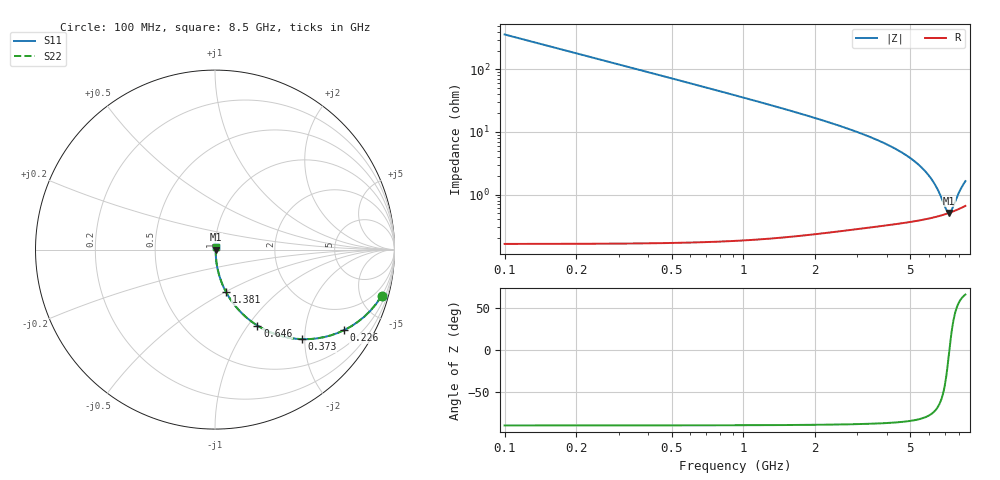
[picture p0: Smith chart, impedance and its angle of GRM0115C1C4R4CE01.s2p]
!Murata Part Number: GRM0115C1C4R4CE01
!These Parameters are Measured in Series Mode Connection
!Data Generated on Mar 30, 2021
!  o--ll--o
!Port1  Port2
!  o------o
!Operation Temp=25[degC], DC Bias Voltage=0[V]
!Freq. Start=100[MHz] Stop=9[GHz] 401[Steps]
# Hz S RI R 50
!Freq.(Hz) S11(Real) S11(Imag) S21(Real) S21(Imag) S12(Real) S12(Imag) S22(Real) S22(Imag)
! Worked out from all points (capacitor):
!   401 points, 100 MHz to 8.5 GHz, reference 50 ohm
!   read as one part in series: C = 4.4 pF near 142 MHz
!   lowest |Z| = 509 mohm at 7.261 GHz (marker M1)
!   series resonance near 7.285 GHz, so ESL is about 110 pH
!   S11 on the Smith chart (normalised r, x): 100 MHz: 1.00, -7.23; 226 MHz: 1.00, -3.20; 373 MHz: 1.00, -1.93; 646 MHz: 1.00, -1.11; 1.381 GHz: 1.00, -0.50; 8.5 GHz: 1.01, +0.03
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1e8  0.9289 -0.2568  0.0711 0.2568  0.0711 0.2568  0.9289 -0.2568
1.42e8  0.8662 -0.3401  0.1338 0.3401  0.1338 0.3401  0.8662 -0.3401
1.84e8  0.794 -0.404  0.206 0.404  0.206 0.404  0.794 -0.404
2.26e8  0.7186 -0.4492  0.2814 0.4492  0.2814 0.4492  0.7186 -0.4492
2.89e8  0.6094 -0.4872  0.3906 0.4872  0.3906 0.4872  0.6094 -0.4872
3.73e8  0.4833 -0.4989  0.5167 0.4989  0.5167 0.4989  0.4833 -0.4989
4.99e8  0.3425 -0.4734  0.6575 0.4734  0.6575 0.4734  0.3425 -0.4734
6.46e8  0.2363 -0.4233  0.7637 0.4233  0.7637 0.4233  0.2363 -0.4233
9.4e8  0.1262 -0.3297  0.8738 0.3297  0.8738 0.3297  0.1262 -0.3297
1.381e9  0.0614 -0.236  0.9386 0.236  0.9386 0.236  0.0614 -0.236
1.507e9  0.0517 -0.2169  0.9483 0.2169  0.9483 0.2169  0.0517 -0.2169
2.116e9  0.0259 -0.1515  0.9741 0.1515  0.9741 0.1515  0.0259 -0.1515
2.914e9  0.0133 -0.1021  0.9867 0.1021  0.9867 0.1021  0.0133 -0.1021
4.3e9  0.00626 -0.054  0.9937 0.054  0.9937 0.054  0.00626 -0.054
5.098e9  0.00495 -0.0357  0.995 0.0357  0.995 0.0357  0.00495 -0.0357
5.707e9  0.00455 -0.0241  0.9954 0.0241  0.9954 0.0241  0.00455 -0.0241
6.4e9  0.00453 -0.0127  0.9955 0.0127  0.9955 0.0127  0.00453 -0.0127
7.114e9  0.00492 -0.00231  0.9951 0.00231  0.9951 0.00231  0.00492 -0.00231
7.261e9  0.00505 -0.000318  0.9949 0.000318  0.9949 0.000318  0.00505 -0.000318
7.45e9  0.00524 0.00218  0.9948 -0.00218  0.9948 -0.00218  0.00524 0.00218
8.08e9  0.00605 0.01  0.9939 -0.01  0.9939 -0.01  0.00605 0.01
8.5e9  0.00675 0.0148  0.9932 -0.0148  0.9932 -0.0148  0.00675 0.0148
